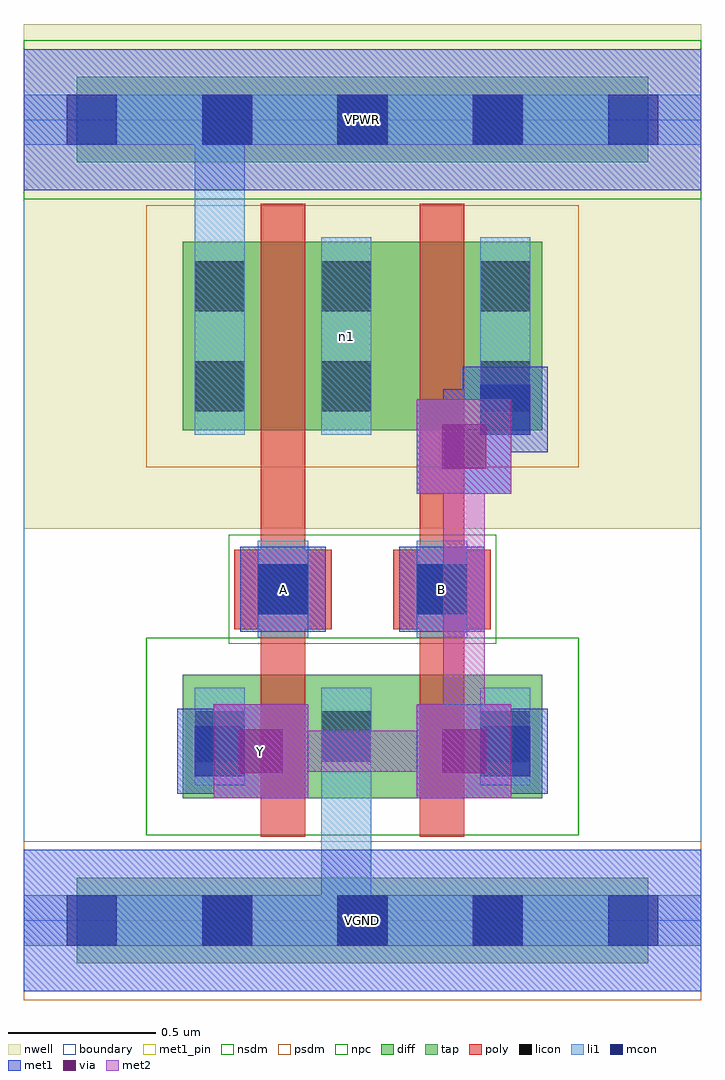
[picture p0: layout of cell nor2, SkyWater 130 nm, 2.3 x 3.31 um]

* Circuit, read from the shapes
.subckt nor2 A B VGND VPWR Y n1
XM1 VGND A Y VGND sky130_fd_pr__nfet_01v8 w=0.42 l=0.15
XM2 Y B VGND VGND sky130_fd_pr__nfet_01v8 w=0.42 l=0.15
XM3 n1 A VPWR VPWR sky130_fd_pr__pfet_01v8 w=0.64 l=0.15
XM4 Y B n1 VPWR sky130_fd_pr__pfet_01v8 w=0.64 l=0.15
.ends

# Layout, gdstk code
import gdstk
lib = gdstk.Library(unit=1e-6, precision=1e-09)
def R(c, l, rs):  # rectangles x0, y0, x1, y1
    for r in rs: c.add(gdstk.rectangle(r[:2], r[2:], *l))
def A(c, l, x, y, w, h, nx, ny, dx, dy):  # array of equal rectangles
    R(c, l, [(x+i*dx, y+j*dy, x+i*dx+w, y+j*dy+h) for i in range(nx) for j in range(ny)])
nwell = (64, 20)
diff = (65, 20)
tap = (65, 44)
poly = (66, 20)
licon = (66, 44)
li1 = (67, 20)
mcon = (67, 44)
met1_pin = (68, 16)
met1 = (68, 20)
via = (68, 44)
met2 = (69, 20)
nsdm = (93, 44)
psdm = (94, 20)
npc = (95, 20)
boundary = (235, 4)

nor2 = lib.new_cell('nor2')
R(nor2, nwell, [(0,1.33,2.3,3.045)])
R(nor2, diff, [(0.54,0.415,1.76,0.835), (0.54,1.665,1.76,2.305)])
R(nor2, tap, [(0.18,-0.145,2.12,0.145), (0.18,2.575,2.12,2.865)])
R(nor2, poly, [(0.805,0.285,0.955,2.435), (1.345,0.285,1.495,2.435), (0.715,0.99,1.045,1.26), (1.255,0.99,1.585,1.26)])
A(nor2, licon, 0.605, -0.085, 0.17, 0.17, 3, 2, 0.46, 2.72)
R(nor2, licon, [(0.58,0.54,0.75,0.71), (1.01,0.54,1.18,0.71), (1.55,0.54,1.72,0.71), (0.795,1.04,0.965,1.21), (1.335,1.04,1.505,1.21), (0.58,1.73,0.75,1.9), (1.01,1.73,1.18,1.9), (1.55,1.73,1.72,1.9), (0.58,2.07,0.75,2.24), (1.01,2.07,1.18,2.24), (1.55,2.07,1.72,2.24)])
R(nor2, li1, [(0,-0.085,2.3,0.085), (1.01,-0.085,1.18,0.79), (0.58,0.46,0.75,0.79), (1.01,0.46,1.18,0.79), (1.55,0.46,1.72,0.79), (0.795,0.96,0.965,1.29), (1.335,0.96,1.505,1.29), (0.58,1.65,0.75,2.32), (0.58,1.65,0.75,2.805), (1.01,1.65,1.18,2.32), (1.55,1.65,1.72,2.32), (0,2.635,2.3,2.805)])
A(nor2, mcon, 0.145, -0.085, 0.17, 0.17, 5, 2, 0.46, 2.72)
R(nor2, mcon, [(0.58,0.49,0.75,0.66), (1.55,0.49,1.72,0.66), (0.795,1.04,0.965,1.21), (1.335,1.04,1.505,1.21), (1.55,1.65,1.72,1.82)])
R(nor2, met1_pin, [(0,-0.24,2.3,0.24), (0.645,0.415,0.965,0.735), (0.735,0.98,1.025,1.27), (1.275,0.98,1.565,1.27), (0,2.48,2.3,2.96)])
R(nor2, met1, [(0,-0.24,2.3,0.24), (0.645,0.415,0.965,0.735), (1.335,0.415,1.655,0.735), (0.52,0.43,0.81,0.72), (1.49,0.43,1.78,0.72), (0.595,0.505,0.875,0.645), (1.425,0.505,1.705,0.645), (0.735,0.98,1.025,1.27), (1.275,0.98,1.565,1.27), (1.335,1.45,1.655,1.77), (1.425,1.54,1.565,1.805), (1.49,1.59,1.78,1.88), (1.425,1.665,1.705,1.805), (0,2.48,2.3,2.96)])
R(nor2, via, [(0.73,0.5,0.88,0.65), (1.42,0.5,1.57,0.65), (1.42,1.535,1.57,1.685)])
R(nor2, met2, [(0.645,0.415,0.965,0.735), (1.335,0.415,1.655,0.735), (0.735,0.505,1.565,0.645), (1.425,0.505,1.565,1.68), (1.335,1.45,1.655,1.77)])
R(nor2, nsdm, [(0.415,0.29,1.885,0.96), (0,2.45,2.3,2.99)])
R(nor2, psdm, [(0,-0.27,2.3,0.27), (0.415,1.54,1.885,2.43)])
R(nor2, npc, [(0.695,0.94,1.605,1.31)])
R(nor2, boundary, [(0,0,2.3,2.72)])
nor2.add(gdstk.Label('n1', (1.095,1.985), layer=67, texttype=5))
nor2.add(gdstk.Label('A', (0.88,1.125), layer=68, texttype=5))
nor2.add(gdstk.Label('B', (1.42,1.125), layer=68, texttype=5))
nor2.add(gdstk.Label('Y', (0.805,0.575), layer=68, texttype=5))
nor2.add(gdstk.Label('VPWR', (1.15,2.72), layer=68, texttype=5))
nor2.add(gdstk.Label('VGND', (1.15,0), layer=68, texttype=5))
nor2.add(gdstk.Label('A', (0.88,1.125), layer=68, texttype=16))
nor2.add(gdstk.Label('B', (1.42,1.125), layer=68, texttype=16))
nor2.add(gdstk.Label('Y', (0.805,0.575), layer=68, texttype=16))
nor2.add(gdstk.Label('VPWR', (1.15,2.72), layer=68, texttype=16))
nor2.add(gdstk.Label('VGND', (1.15,0), layer=68, texttype=16))

lib.write_gds('nor2.gds')
